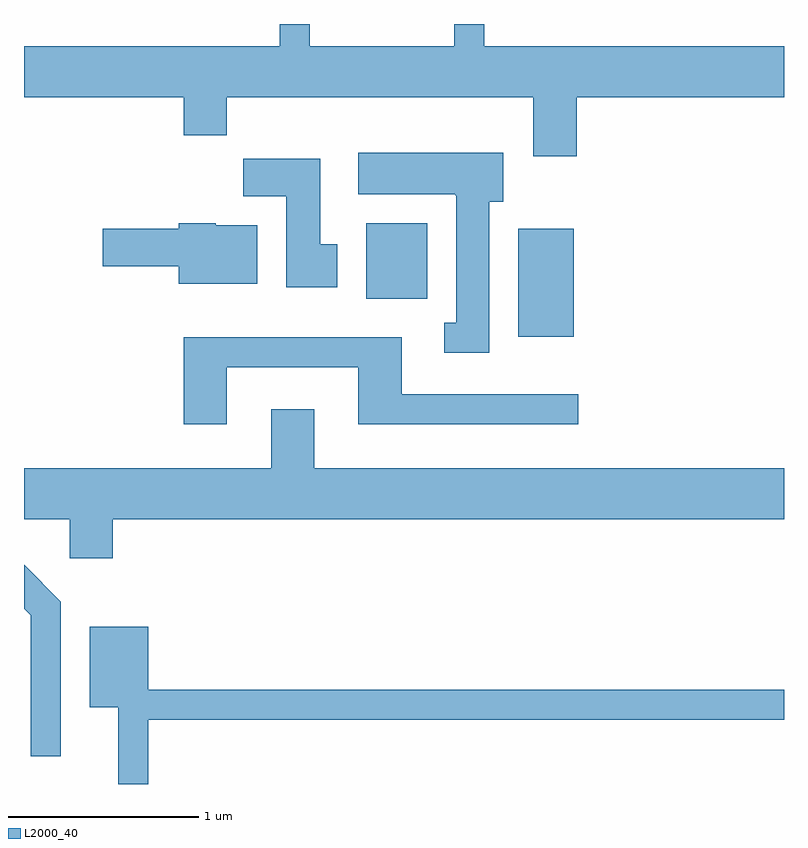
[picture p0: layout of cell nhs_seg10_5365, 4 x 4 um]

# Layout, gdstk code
import gdstk
lib = gdstk.Library(unit=1e-6, precision=1e-09)
def R(c, l, rs):  # rectangles x0, y0, x1, y1
    for r in rs: c.add(gdstk.rectangle(r[:2], r[2:], *l))
def P(c, l, *ps):  # polygons
    for p in ps: c.add(gdstk.Polygon(p, *l))
L2000_40 = (2000, 40)

nhs_seg10_5365 = lib.new_cell('nhs_seg10_5365')
R(nhs_seg10_5365, L2000_40, [(346.211,2114.876,346.504,2115.444), (345.411,2115.076,345.734,2115.474)])
P(nhs_seg10_5365, L2000_40, [(346.519,2116.136),(347.611,2116.136),(347.611,2116.404),(346.034,2116.404),(346.034,2116.522),(345.876,2116.522),(345.876,2116.404),(345.114,2116.404),(345.114,2116.522),(344.956,2116.522),(344.956,2116.404),(343.611,2116.404),(343.611,2116.136),(344.451,2116.136),(344.451,2115.936),(344.679,2115.936),(344.679,2116.136),(346.291,2116.136),(346.291,2115.826),(346.519,2115.826)],
  [(346.059,2115.586),(346.134,2115.586),(346.134,2115.844),(345.371,2115.844),(345.371,2115.626),(345.88,2115.626),(345.88,2115.62),(345.886,2115.62),(345.886,2114.949),(345.823,2114.949),(345.823,2114.791),(346.059,2114.791)],
  [(345.259,2115.364),(345.169,2115.364),(345.169,2115.814),(344.766,2115.814),(344.766,2115.616),(344.991,2115.616),(344.991,2115.136),(345.259,2115.136)],
  [(344.839,2115.464),(344.62,2115.464),(344.62,2115.474),(344.426,2115.474),(344.426,2115.444),(344.026,2115.444),(344.026,2115.246),(344.426,2115.246),(344.426,2115.156),(344.839,2115.156)],
  [(344.679,2114.716),(345.371,2114.716),(345.371,2114.416),(346.528,2114.416),(346.528,2114.574),(345.599,2114.574),(345.599,2114.874),(344.451,2114.874),(344.451,2114.416),(344.679,2114.416)],
  [(344.079,2113.916),(347.611,2113.916),(347.611,2114.184),(345.139,2114.184),(345.139,2114.494),(344.911,2114.494),(344.911,2114.184),(343.611,2114.184),(343.611,2113.916),(343.851,2113.916),(343.851,2113.711),(344.079,2113.711)],
  [(343.804,2113.482),(343.611,2113.675),(343.611,2113.444),(343.646,2113.409),(343.646,2112.668),(343.804,2112.668)],
  [(344.264,2112.861),(347.611,2112.861),(347.611,2113.019),(344.264,2113.019),(344.264,2113.349),(343.956,2113.349),(343.956,2112.926),(344.106,2112.926),(344.106,2112.522),(344.264,2112.522)])

lib.write_gds('nhs_seg10_5365.gds')
